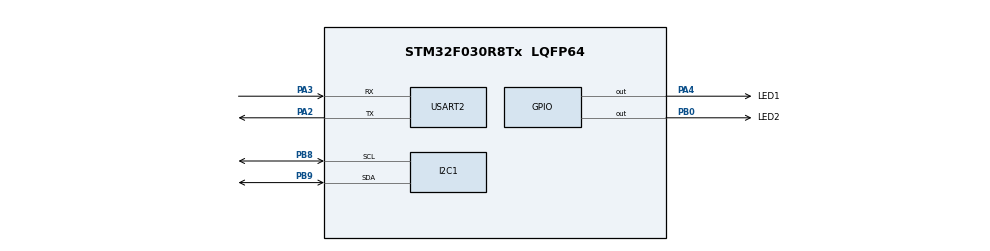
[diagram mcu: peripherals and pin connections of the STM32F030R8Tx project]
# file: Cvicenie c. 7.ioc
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Dma.Request0=USART2_RX
Dma.USART2_RX.0.Direction=DMA_PERIPH_TO_MEMORY
Dma.USART2_RX.0.Instance=DMA1_Channel5
Dma.USART2_RX.0.MemDataAlignment=DMA_MDATAALIGN_BYTE
Dma.USART2_RX.0.MemInc=DMA_MINC_ENABLE
Dma.USART2_RX.0.Mode=DMA_CIRCULAR
Dma.USART2_RX.0.PeriphDataAlignment=DMA_PDATAALIGN_BYTE
Dma.USART2_RX.0.PeriphInc=DMA_PINC_DISABLE
Dma.USART2_RX.0.Priority=DMA_PRIORITY_LOW
FREERTOS.Queues01=xVisualQueue,16,int16_t,0,Dynamic,NULL,NULL
FREERTOS.Tasks01=defaultTask,0,128,StartDefaultTask,Default,NULL,Dynamic,NULL,NULL;VisualTask,-3,128,StartVisualTask,Default,NULL,Dynamic,NULL,NULL;AcceleroTask,-3,128,StartAcceleroTask,Default,NULL,Dynamic,NULL,NULL
Mcu.Family=STM32F0
Mcu.Name=STM32F030R8Tx
Mcu.Package=LQFP64
NVIC.DMA1_Channel4_5_IRQn=true\:3\:0\:false\:false\:true\:true\:false\:true
NVIC.TIM1_BRK_UP_TRG_COM_IRQn=true\:0\:0\:false\:false\:true\:false\:false\:true
NVIC.TimeBase=TIM1_BRK_UP_TRG_COM_IRQn
NVIC.TimeBaseIP=TIM1
PA2.Mode=Asynchronous
PA2.Signal=USART2_TX
PA3.Mode=Asynchronous
PA3.Signal=USART2_RX
PA4.GPIO_Label=LED1
PA4.Signal=GPIO_Output
PB0.GPIO_Label=LED2
PB0.Signal=GPIO_Output
PB8.Mode=I2C
PB8.Signal=I2C1_SCL
PB9.Mode=I2C
PB9.Signal=I2C1_SDA
ProjectManager.HeapSize=0x200
ProjectManager.StackSize=0x400
ProjectManager.TargetToolchain=STM32CubeIDE
USART2.VirtualMode-Asynchronous=VM_ASYNC
VP_FREERTOS_VS_CMSIS_V1.Mode=CMSIS_V1
VP_SYS_VS_tim1.Mode=TIM1
board=custom

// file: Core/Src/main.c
/* USER CODE BEGIN Header */
/**
  ******************************************************************************
  * @file           : main.c
  * @brief          : Main program body
  ******************************************************************************
  * @attention
  *
  * <h2><center>&copy; Copyright (c) 2020 STMicroelectronics.
  * All rights reserved.</center></h2>
  *
  * This software component is licensed by ST under BSD 3-Clause license,
  * the "License"; You may not use this file except in compliance with the
  * License. You may obtain a copy of the License at:
  *                        opensource.org/licenses/BSD-3-Clause
  *
  ******************************************************************************
  */
/* USER CODE END Header */

#include "main.h"
#include "cmsis_os.h"

/* USER CODE BEGIN Includes */
#include "lis2dw12_reg.h"
#include <stdio.h>
#include <string.h>
#include <stdlib.h>
/* USER CODE END Includes */

I2C_HandleTypeDef hi2c1;

UART_HandleTypeDef huart2;
DMA_HandleTypeDef hdma_usart2_rx;

osThreadId defaultTaskHandle;
osThreadId VisualTaskHandle;
osThreadId AcceleroTaskHandle;
osMessageQId xVisualQueueHandle;

void SystemClock_Config(void);
static void MX_GPIO_Init(void);
static void MX_DMA_Init(void);
static void MX_I2C1_Init(void);
static void MX_USART2_UART_Init(void);
void StartDefaultTask(void const * argument);
void StartVisualTask(void const * argument);
void StartAcceleroTask(void const * argument);

/* USER CODE BEGIN 0 */
static int32_t platform_write(void *handle, uint8_t reg, uint8_t *bufp, uint16_t len);
static int32_t platform_read(void *handle, uint8_t reg, uint8_t *bufp, uint16_t len);
static stmdev_ctx_t lis2dw12 = {
 .write_reg = platform_write,
 .read_reg = platform_read,
 .handle = &hi2c1,
};

static int32_t platform_write(void *handle, uint8_t reg, uint8_t *bufp, uint16_t len)
{
 HAL_I2C_Mem_Write(handle, LIS2DW12_I2C_ADD_H, reg, I2C_MEMADD_SIZE_8BIT, bufp, len, 1000);
 return 0;
}
static int32_t platform_read(void *handle, uint8_t reg, uint8_t *bufp, uint16_t len)
{
 HAL_I2C_Mem_Read(handle, LIS2DW12_I2C_ADD_H, reg, I2C_MEMADD_SIZE_8BIT, bufp, len, 1000);
 return 0;
}

int _write(int file, char const *buf, int n)
{
	/* stdout redirection to UART2 */
	HAL_UART_Transmit(&huart2, (uint8_t*)(buf), n, HAL_MAX_DELAY);
	return n;
}

/* USER CODE END 0 */

int main(void)
{

  /* MCU Configuration--------------------------------------------------------*/

  /* Reset of all peripherals, Initializes the Flash interface and the Systick. */
  HAL_Init();

  /* Configure the system clock */
  SystemClock_Config();

  /* Initialize all configured peripherals */
  MX_GPIO_Init();
  MX_DMA_Init();
  MX_I2C1_Init();
  MX_USART2_UART_Init();
  /* USER CODE BEGIN 2 */
  printf("Hello\n");
  /* USER CODE END 2 */

  /* Create the queue(s) */
  /* definition and creation of xVisualQueue */
  osMessageQDef(xVisualQueue, 16, int16_t);
  xVisualQueueHandle = osMessageCreate(osMessageQ(xVisualQueue), NULL);

  /* Create the thread(s) */
  /* definition and creation of defaultTask */
  osThreadDef(defaultTask, StartDefaultTask, osPriorityNormal, 0, 128);
  defaultTaskHandle = osThreadCreate(osThread(defaultTask), NULL);

  /* definition and creation of VisualTask */
  osThreadDef(VisualTask, StartVisualTask, osPriorityIdle, 0, 128);
  VisualTaskHandle = osThreadCreate(osThread(VisualTask), NULL);

  /* definition and creation of AcceleroTask */
  osThreadDef(AcceleroTask, StartAcceleroTask, osPriorityIdle, 0, 128);
  AcceleroTaskHandle = osThreadCreate(osThread(AcceleroTask), NULL);

  /* Start scheduler */
  osKernelStart();

  /* We should never get here as control is now taken by the scheduler */
  /* Infinite loop */
  while (1)
  {

  }
}

void SystemClock_Config(void)
{
  RCC_OscInitTypeDef RCC_OscInitStruct = {0};
  RCC_ClkInitTypeDef RCC_ClkInitStruct = {0};
  RCC_PeriphCLKInitTypeDef PeriphClkInit = {0};

  /** Initializes the CPU, AHB and APB busses clocks
  */
  RCC_OscInitStruct.OscillatorType = RCC_OSCILLATORTYPE_HSI;
  RCC_OscInitStruct.HSIState = RCC_HSI_ON;
  RCC_OscInitStruct.HSICalibrationValue = RCC_HSICALIBRATION_DEFAULT;
  RCC_OscInitStruct.PLL.PLLState = RCC_PLL_NONE;
  if (HAL_RCC_OscConfig(&RCC_OscInitStruct) != HAL_OK)
  {
    Error_Handler();
  }
  /** Initializes the CPU, AHB and APB busses clocks
  */
  RCC_ClkInitStruct.ClockType = RCC_CLOCKTYPE_HCLK|RCC_CLOCKTYPE_SYSCLK
                              |RCC_CLOCKTYPE_PCLK1;
  RCC_ClkInitStruct.SYSCLKSource = RCC_SYSCLKSOURCE_HSI;
  RCC_ClkInitStruct.AHBCLKDivider = RCC_SYSCLK_DIV1;
  RCC_ClkInitStruct.APB1CLKDivider = RCC_HCLK_DIV1;

  if (HAL_RCC_ClockConfig(&RCC_ClkInitStruct, FLASH_LATENCY_0) != HAL_OK)
  {
    Error_Handler();
  }
  PeriphClkInit.PeriphClockSelection = RCC_PERIPHCLK_I2C1;
  PeriphClkInit.I2c1ClockSelection = RCC_I2C1CLKSOURCE_HSI;
  if (HAL_RCCEx_PeriphCLKConfig(&PeriphClkInit) != HAL_OK)
  {
    Error_Handler();
  }
}

static void MX_I2C1_Init(void)
{

  hi2c1.Instance = I2C1;
  hi2c1.Init.Timing = 0x2000090E;
  hi2c1.Init.OwnAddress1 = 0;
  hi2c1.Init.AddressingMode = I2C_ADDRESSINGMODE_7BIT;
  hi2c1.Init.DualAddressMode = I2C_DUALADDRESS_DISABLE;
  hi2c1.Init.OwnAddress2 = 0;
  hi2c1.Init.OwnAddress2Masks = I2C_OA2_NOMASK;
  hi2c1.Init.GeneralCallMode = I2C_GENERALCALL_DISABLE;
  hi2c1.Init.NoStretchMode = I2C_NOSTRETCH_DISABLE;
  if (HAL_I2C_Init(&hi2c1) != HAL_OK)
  {
    Error_Handler();
  }
  /** Configure Analogue filter
  */
  if (HAL_I2CEx_ConfigAnalogFilter(&hi2c1, I2C_ANALOGFILTER_ENABLE) != HAL_OK)
  {
    Error_Handler();
  }
  /** Configure Digital filter
  */
  if (HAL_I2CEx_ConfigDigitalFilter(&hi2c1, 0) != HAL_OK)
  {
    Error_Handler();
  }

}

static void MX_USART2_UART_Init(void)
{

  huart2.Instance = USART2;
  huart2.Init.BaudRate = 38400;
  huart2.Init.WordLength = UART_WORDLENGTH_8B;
  huart2.Init.StopBits = UART_STOPBITS_1;
  huart2.Init.Parity = UART_PARITY_NONE;
  huart2.Init.Mode = UART_MODE_TX_RX;
  huart2.Init.HwFlowCtl = UART_HWCONTROL_NONE;
  huart2.Init.OverSampling = UART_OVERSAMPLING_16;
  huart2.Init.OneBitSampling = UART_ONE_BIT_SAMPLE_DISABLE;
  huart2.AdvancedInit.AdvFeatureInit = UART_ADVFEATURE_NO_INIT;
  if (HAL_UART_Init(&huart2) != HAL_OK)
  {
    Error_Handler();
  }

}

static void MX_DMA_Init(void)
{

  /* DMA controller clock enable */
  __HAL_RCC_DMA1_CLK_ENABLE();

  /* DMA interrupt init */
  /* DMA1_Channel4_5_IRQn interrupt configuration */
  HAL_NVIC_SetPriority(DMA1_Channel4_5_IRQn, 3, 0);
  HAL_NVIC_EnableIRQ(DMA1_Channel4_5_IRQn);

}

static void MX_GPIO_Init(void)
{
  GPIO_InitTypeDef GPIO_InitStruct = {0};

  /* GPIO Ports Clock Enable */
  __HAL_RCC_GPIOA_CLK_ENABLE();
  __HAL_RCC_GPIOB_CLK_ENABLE();

  /*Configure GPIO pin Output Level */
  HAL_GPIO_WritePin(LED1_GPIO_Port, LED1_Pin, GPIO_PIN_RESET);

  /*Configure GPIO pin Output Level */
  HAL_GPIO_WritePin(LED2_GPIO_Port, LED2_Pin, GPIO_PIN_RESET);

  /*Configure GPIO pin : LED1_Pin */
  GPIO_InitStruct.Pin = LED1_Pin;
  GPIO_InitStruct.Mode = GPIO_MODE_OUTPUT_PP;
  GPIO_InitStruct.Pull = GPIO_NOPULL;
  GPIO_InitStruct.Speed = GPIO_SPEED_FREQ_LOW;
  HAL_GPIO_Init(LED1_GPIO_Port, &GPIO_InitStruct);

  /*Configure GPIO pin : LED2_Pin */
  GPIO_InitStruct.Pin = LED2_Pin;
  GPIO_InitStruct.Mode = GPIO_MODE_OUTPUT_PP;
  GPIO_InitStruct.Pull = GPIO_NOPULL;
  GPIO_InitStruct.Speed = GPIO_SPEED_FREQ_LOW;
  HAL_GPIO_Init(LED2_GPIO_Port, &GPIO_InitStruct);

}

void StartDefaultTask(void const * argument)
{
  for(;;)
  {
    osDelay(1);
  }
}

void StartVisualTask(void const * argument)
{
  /* USER CODE BEGIN StartVisualTask */
	int16_t msg;

  /* Infinite loop */
  for(;;)
  {
	  if (xQueueReceive(xVisualQueueHandle, &msg, portMAX_DELAY)) {
		  if(msg>200){
			  HAL_GPIO_WritePin(LED1_GPIO_Port, LED1_Pin, 1);
			  HAL_GPIO_WritePin(LED2_GPIO_Port, LED2_Pin, 0);
		  }
		  else if(msg<-200){
			  HAL_GPIO_WritePin(LED1_GPIO_Port, LED1_Pin, 0);
			  HAL_GPIO_WritePin(LED2_GPIO_Port, LED2_Pin, 1);
		  }
		  else {
			  HAL_GPIO_WritePin(LED1_GPIO_Port, LED1_Pin, 0);
			  HAL_GPIO_WritePin(LED2_GPIO_Port, LED2_Pin, 0);
		  }
	  }
	  osDelay(1);
  }
  /* USER CODE END StartVisualTask */
}

void StartAcceleroTask(void const * argument)
{
  /* USER CODE BEGIN StartAcceleroTask */

	typedef union {
	 int16_t i16bit[3];
	 uint8_t u8bit[6];
	} axis3bit16_t;

	axis3bit16_t data_raw_acceleration;
	uint8_t whoamI = 0;
	uint8_t samples;
	uint8_t counter = 0; 	// tuto premennu pouzijem pre odpocitanie 20. cyklu citania po..
							// 50 ms, tj. po 1 sekunde

	lis2dw12_device_id_get(&lis2dw12, &whoamI);
	printf("LIS2DW12_ID %s\n", (whoamI == LIS2DW12_ID) ? "OK" : "FAIL");

	lis2dw12_full_scale_set(&lis2dw12, LIS2DW12_2g);
	lis2dw12_power_mode_set(&lis2dw12, LIS2DW12_CONT_LOW_PWR_LOW_NOISE_2);
	lis2dw12_block_data_update_set(&lis2dw12, PROPERTY_ENABLE);
	lis2dw12_fifo_mode_set(&lis2dw12, LIS2DW12_STREAM_MODE); // enable continuous FIFO
	lis2dw12_data_rate_set(&lis2dw12, LIS2DW12_XL_ODR_25Hz); // enable part from power-down

  /* Infinite loop */
  for(;;)
  {
	  lis2dw12_fifo_data_level_get(&lis2dw12, &samples);
	  for (uint8_t i = 0; i < samples; i++) {
		  // Read acceleration data
		  lis2dw12_acceleration_raw_get(&lis2dw12, data_raw_acceleration.u8bit);
	  }
	  xQueueSend(xVisualQueueHandle, &data_raw_acceleration.i16bit[0],portMAX_DELAY);

	  if(counter>20){
		  counter = 1;
		  printf("X=%d Y=%d Z=%d\n", data_raw_acceleration.i16bit[0],
		  data_raw_acceleration.i16bit[1], data_raw_acceleration.i16bit[2]);
	  }

	  counter++;
	  osDelay(50);
  }
  /* USER CODE END StartAcceleroTask */
}

 /**
  * @brief  Period elapsed callback in non blocking mode
  * @note   This function is called  when TIM1 interrupt took place, inside
  * HAL_TIM_IRQHandler(). It makes a direct call to HAL_IncTick() to increment
  * a global variable "uwTick" used as application time base.
  * @param  htim : TIM handle
  * @retval None
  */
void HAL_TIM_PeriodElapsedCallback(TIM_HandleTypeDef *htim)
{
  if (htim->Instance == TIM1) {
    HAL_IncTick();
  }
}

void Error_Handler(void)
{
}

/************************ (C) COPYRIGHT STMicroelectronics *****END OF FILE****/
